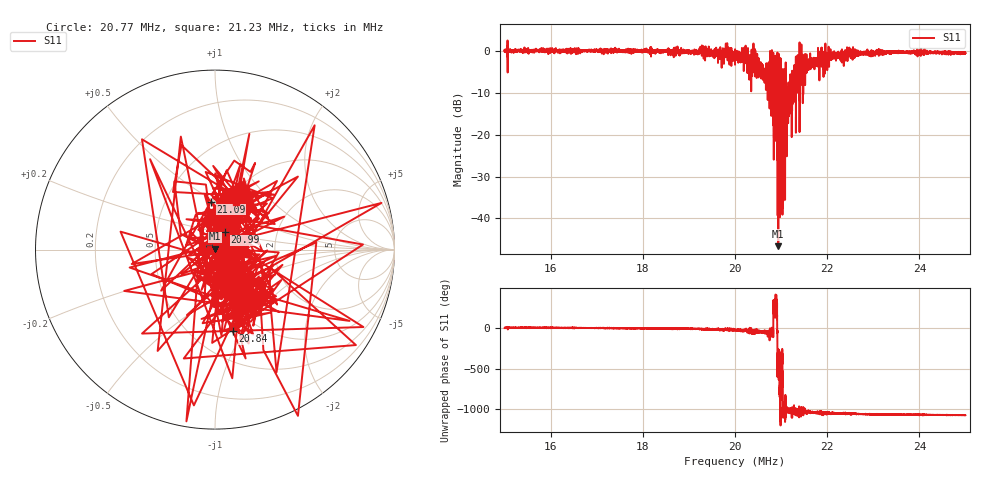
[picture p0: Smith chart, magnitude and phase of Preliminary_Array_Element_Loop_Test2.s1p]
# HZ S RI R 50
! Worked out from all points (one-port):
!   18180 points, 15 MHz to 25 MHz, reference 50 ohm
!   lowest |S11| = -46.7 dB at 20.94 MHz (marker M1), VSWR 1.01, Z = 49.9 + j0.456 ohm
!   |S11| at or under -10 dB: 20.9607 MHz to 20.98958 MHz (28.88 kHz wide, 0.138 % of centre); 21.04035 MHz to 21.07851 MHz (38.16 kHz wide, 0.181 % of centre); 21.10753 MHz to 21.14943 MHz (41.9 kHz wide, 0.198 % of centre)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
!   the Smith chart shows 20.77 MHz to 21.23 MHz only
!   S11 on the Smith chart (normalised r, x): 20.77 MHz: 1.44, -0.85; 20.84 MHz: 0.77, -0.89; 20.99 MHz: 1.09, +0.21; 21.09 MHz: 0.83, +0.48; 21.23 MHz: 1.08, +0.62
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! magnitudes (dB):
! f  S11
! 15 MHz  0.3
! 16.25 MHz  0.2
! 17.5 MHz  -0.1
! 18.75 MHz  1.2
! 20 MHz  0.0
! 20.44 MHz  -2.7
! 20.6 MHz  -3.2
! 20.77 MHz  -8.7
! 20.84 MHz  -6.7
! 20.87 MHz  -13.8
! 20.9 MHz  -16.7
! 20.92 MHz  -12.8
! 20.94 MHz  -46.7
! 20.96 MHz  -18.3
! 20.97 MHz  -13.4
! 20.99 MHz  -19.1
! 21.02 MHz  -17.8
! 21.09 MHz  -11.4
! 21.13 MHz  -17.1
! 21.23 MHz  -10.8
! 21.25 MHz  -8.5
! 21.31 MHz  -9.3
! 21.4 MHz  -3.8
! 21.6 MHz  -4.3
! 22.1 MHz  -1.2
! 22.5 MHz  -0.4
! 23.75 MHz  -0.1
! 25 MHz  -0.4
